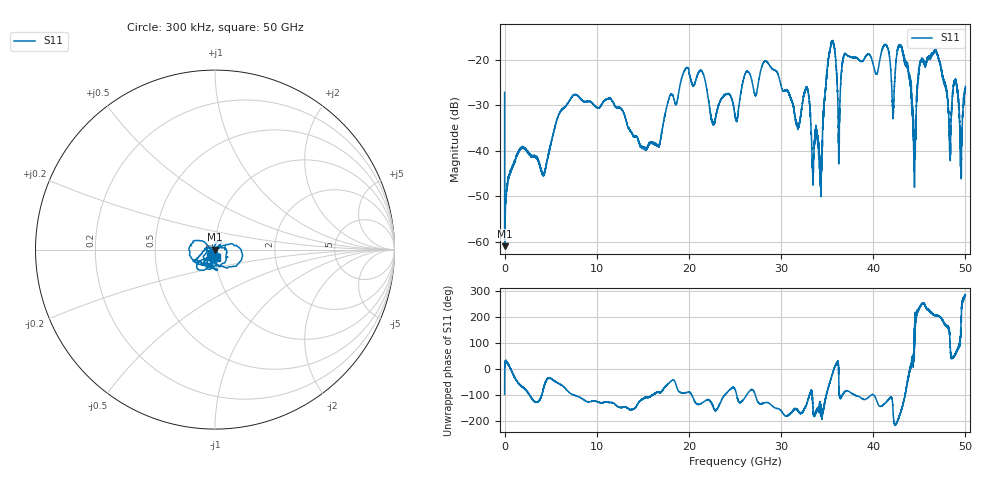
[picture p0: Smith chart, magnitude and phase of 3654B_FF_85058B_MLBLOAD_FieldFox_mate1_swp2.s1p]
!Created with skrf (http://scikit-rf.org).
# Hz S RI R 50.0
!freq ReS11 ImS11
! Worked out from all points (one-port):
!   10001 points, 300 kHz to 50 GHz, reference 50 ohm
!   lowest |S11| = -61.0 dB at 5.3 MHz (marker M1), VSWR 1.00, Z = 50.1 - j0.0415 ohm
!   |S11| at or under -10 dB: start of sweep to end of sweep
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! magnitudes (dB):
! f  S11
! 300 kHz  -27.2
! 5.3 MHz  -61.0
! 255.3 MHz  -48.4
! 1.835 GHz  -39.5
! 4.205 GHz  -45.5
! 6.25 GHz  -30.8
! 12.5 GHz  -30.6
! 15.26 GHz  -39.7
! 18.75 GHz  -28.8
! 21.3 GHz  -22.4
! 22.59 GHz  -33.8
! 25 GHz  -32.2
! 28.31 GHz  -20.3
! 31.25 GHz  -29.6
! 32.82 GHz  -26.0
! 33.42 GHz  -44.4
! 34.25 GHz  -47.4
! 35.41 GHz  -16.7
! 36.27 GHz  -42.4
! 37.5 GHz  -19.5
! 43.75 GHz  -21.6
! 44.45 GHz  -39.9
! 45.26 GHz  -20.0
! 46.94 GHz  -18.8
! 48.3 GHz  -38.4
! 48.93 GHz  -24.6
! 49.52 GHz  -42.6
! 50 GHz  -25.9
